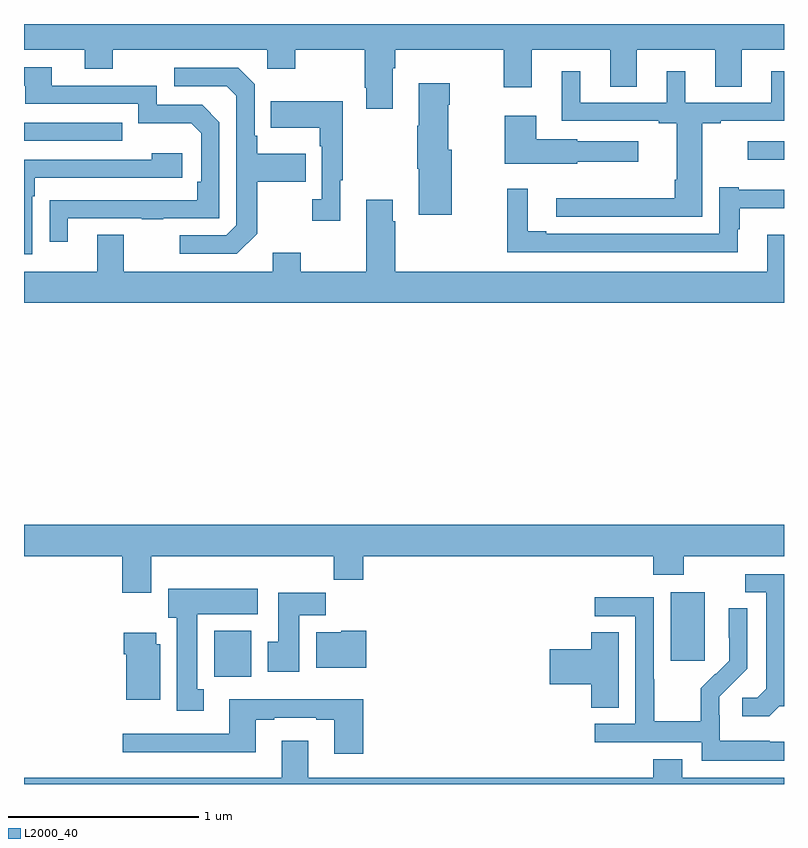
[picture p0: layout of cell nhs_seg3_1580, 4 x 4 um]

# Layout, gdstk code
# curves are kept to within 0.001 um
import gdstk
lib = gdstk.Library(unit=1e-6, precision=1e-09)
def R(c, l, rs):  # rectangles x0, y0, x1, y1
    for r in rs: c.add(gdstk.rectangle(r[:2], r[2:], *l))
def P(c, l, *ps):  # polygons
    for p in ps: c.add(gdstk.Polygon(p, *l))
L2000_40 = (2000, 40)

nhs_seg3_1580 = lib.new_cell('nhs_seg3_1580')
R(nhs_seg3_1580, L2000_40, [(194,682.964,194.197,683.206), (196.403,683.049,196.582,683.41), (196.809,685.685,197,685.782), (193,685.785,193.517,685.881)])
P(nhs_seg3_1580, L2000_40, [(194.941,686.168),(194.954,686.168),(194.954,686.264),(195.526,686.264),(195.526,686.067),(195.673,686.067),(195.673,686.264),(196.085,686.264),(196.085,686.071),(196.225,686.071),(196.225,686.264),(196.637,686.264),(196.637,686.071),(196.777,686.071),(196.777,686.264),(197,686.264),(197,686.4),(193,686.4),(193,686.264),(193.319,686.264),(193.319,686.165),(193.467,686.165),(193.467,686.264),(194.28,686.264),(194.28,686.165),(194.427,686.165),(194.427,686.264),(194.794,686.264),(194.794,686.065),(194.801,686.065),(194.801,685.953),(194.941,685.953)],
  [(193.231,685.377),(193.621,685.377),(193.621,685.372),(193.733,685.372),(193.733,685.377),(194.028,685.377),(194.028,685.884),(193.938,685.974),(193.698,685.974),(193.698,686.076),(193.147,686.076),(193.147,686.172),(193,686.172),(193,686.076),(193.007,686.076),(193.007,685.98),(193.602,685.98),(193.602,685.877),(193.879,685.877),(193.932,685.824),(193.932,685.57),(193.912,685.57),(193.912,685.473),(193.135,685.472),(193.135,685.254),(193.231,685.254)],
  [(194.227,685.297),(194.227,685.57),(194.483,685.57),(194.483,685.717),(194.227,685.717),(194.227,685.813),(194.214,685.813),(194.214,686.082),(194.127,686.169),(193.791,686.169),(193.791,686.073),(194.067,686.073),(194.118,686.022),(194.118,685.341),(194.064,685.287),(193.821,685.287),(193.821,685.191),(194.121,685.191)],
  [(196.57,685.878),(196.666,685.878),(196.666,685.89),(197,685.89),(197,686.152),(196.934,686.152),(196.934,685.986),(196.48,685.986),(196.48,686.152),(196.382,686.152),(196.382,685.986),(195.928,685.986),(195.928,686.152),(195.83,686.152),(195.83,685.89),(196.34,685.89),(196.34,685.878),(196.436,685.878),(196.436,685.579),(196.424,685.579),(196.424,685.484),(195.801,685.484),(195.801,685.386),(196.57,685.386)],
  [(195.25,685.737),(195.232,685.737),(195.232,685.976),(195.24,685.976),(195.24,686.089),(195.077,686.089),(195.077,685.865),(195.07,685.865),(195.07,685.637),(195.077,685.637),(195.077,685.397),(195.25,685.397)],
  [(194.665,685.577),(194.677,685.577),(194.677,685.993),(194.299,685.993),(194.299,685.853),(194.556,685.853),(194.556,685.757),(194.568,685.757),(194.568,685.478),(194.517,685.478),(194.517,685.365),(194.665,685.365)],
  [(195.912,685.676),(196.234,685.676),(196.234,685.783),(195.912,685.783),(195.912,685.794),(195.697,685.794),(195.697,685.918),(195.53,685.918),(195.53,685.664),(195.912,685.664)],
  [(193.044,685.493),(193.057,685.493),(193.057,685.59),(193.834,685.59),(193.834,685.72),(193.673,685.72),(193.673,685.686),(193,685.686),(193,685.188),(193.044,685.188)],
  [(196.756,685.319),(196.768,685.319),(196.768,685.43),(197,685.43),(197,685.528),(196.762,685.528),(196.762,685.54),(196.659,685.54),(196.659,685.296),(195.748,685.296),(195.748,685.309),(195.652,685.309),(195.652,685.534),(195.543,685.534),(195.543,685.2),(196.756,685.2)],
  [(197,685.291),(196.913,685.291),(196.913,685.096),(194.954,685.096),(194.954,685.361),(194.941,685.361),(194.941,685.474),(194.801,685.474),(194.801,685.096),(194.457,685.096),(194.457,685.195),(194.309,685.195),(194.309,685.096),(193.525,685.096),(193.525,685.291),(193.385,685.291),(193.385,685.096),(193,685.096),(193,684.932),(197,684.932)],
  [(193.669,683.6),(194.629,683.6),(194.629,683.476),(194.786,683.476),(194.786,683.6),(196.313,683.6),(196.313,683.501),(196.473,683.501),(196.473,683.6),(197,683.6),(197,683.764),(193,683.764),(193,683.6),(193.517,683.6),(193.517,683.406),(193.669,683.406)],
  [(196.974,682.809),(197,682.809),(197,683.505),(196.797,683.505),(196.797,683.409),(196.907,683.409),(196.907,682.901),(196.86,682.854),(196.779,682.854),(196.779,682.757),(196.922,682.757)],
  [(193.945,682.898),(193.912,682.898),(193.912,683.294),(194.23,683.294),(194.23,683.428),(193.76,683.428),(193.76,683.274),(193.805,683.274),(193.805,682.785),(193.945,682.785)],
  [(194.449,683.288),(194.588,683.288),(194.588,683.407),(194.339,683.407),(194.339,683.148),(194.282,683.148),(194.282,682.992),(194.449,682.992)],
  [(197,682.623),(196.925,682.623),(196.925,682.627),(196.662,682.627),(196.662,682.761),(196.66,682.761),(196.66,682.858),(196.806,683.006),(196.806,683.324),(196.71,683.324),(196.71,683.17),(196.712,683.17),(196.712,683.048),(196.641,682.977),(196.638,682.98),(196.561,682.903),(196.561,682.729),(196.317,682.729),(196.317,682.952),(196.314,682.952),(196.314,683.382),(196.005,683.382),(196.005,683.283),(196.218,683.283),(196.218,682.716),(196.005,682.716),(196.005,682.62),(196.566,682.62),(196.566,682.523),(197,682.523)],
  [(194.801,683.206),(194.67,683.206),(194.67,683.2),(194.537,683.2),(194.537,683.012),(194.801,683.012)],
  [(196.129,683.198),(195.986,683.198),(195.986,683.108),(195.768,683.108),(195.768,682.925),(195.986,682.925),(195.986,682.801),(196.129,682.801)],
  [(193.717,683.136),(193.696,683.136),(193.696,683.197),(193.526,683.197),(193.526,683.084),(193.538,683.084),(193.538,682.844),(193.717,682.844)],
  [(194.786,682.846),(194.081,682.846),(194.081,682.665),(193.521,682.665),(193.521,682.568),(194.221,682.568),(194.221,682.737),(194.317,682.737),(194.317,682.749),(194.537,682.749),(194.537,682.737),(194.633,682.737),(194.633,682.56),(194.786,682.56)],
  [(197,682.432),(196.465,682.432),(196.465,682.531),(196.313,682.531),(196.313,682.432),(194.497,682.432),(194.497,682.627),(194.357,682.627),(194.357,682.432),(193,682.432),(193,682.4),(197,682.4)])

lib.write_gds('nhs_seg3_1580.gds')
